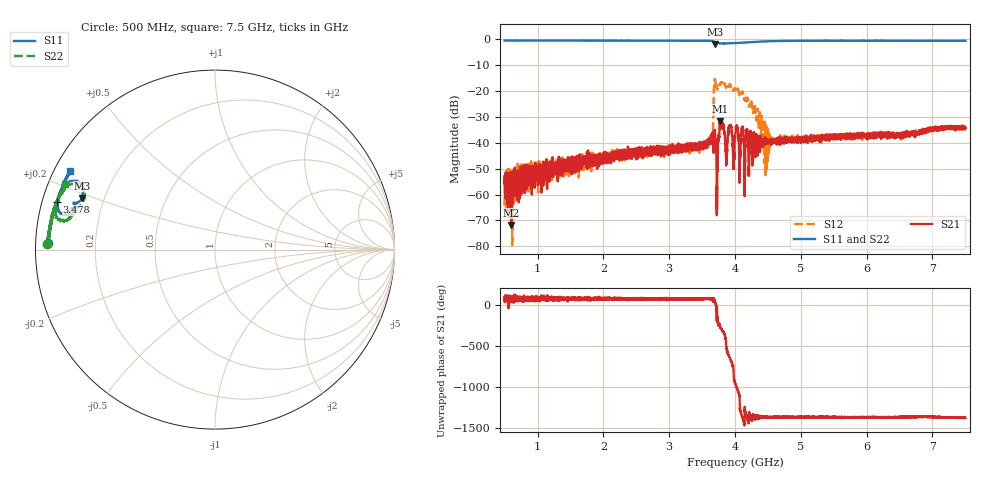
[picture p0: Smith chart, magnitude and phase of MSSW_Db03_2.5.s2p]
!Keysight Technologies,M9374A,MY55442783,A.12.55.05
!Date: Wednesday, May 19, 2021 15:42:19
!Correction: S11(Full 2 Port(1,2))
!S21(Full 2 Port(1,2))
!S12(Full 2 Port(1,2))
!S22(Full 2 Port(1,2))
!S2P File: Measurements: S11, S21, S12, S22:
# Hz S  RI  R 50
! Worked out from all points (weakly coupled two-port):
!   7001 points, 500 MHz to 7.5 GHz, reference 50 ohm
!   highest |S21| = -31.72 dB at 3.769 GHz (marker M1); lowest = -71.7 dB at 599 MHz (marker M2)
!   lowest |S11| = -2.0 dB at 3.695 GHz (marker M3), VSWR 8.73, Z = 5.93 + j9.22 ohm
!   |S11| at or under -10 dB: nowhere
!   |S22| runs from -2.2 to -0.6 dB; largest |S21 - S12| = 0.16
!   S11 on the Smith chart (normalised r, x): 500 MHz: 0.04, +0.02; 3.478 GHz: 0.04, +0.15; 7.5 GHz: 0.05, +0.25
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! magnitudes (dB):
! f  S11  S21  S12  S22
! 500 MHz  -0.6  -53.0  -64.4  -0.6
! 538 MHz  -0.6  -55.7  -54.5  -0.6
! 599 MHz  -0.6  -71.7  -55.0  -0.6
! 1.667 GHz  -0.7  -50.0  -48.2  -0.6
! 2.834 GHz  -0.7  -42.8  -41.8  -0.6
! 3.478 GHz  -0.7  -41.6  -41.2  -0.7
! 3.631 GHz  -0.8  -40.5  -38.7  -0.8
! 3.679 GHz  -1.6  -38.3  -19.8  -1.9
! 3.695 GHz  -2.0  -35.1  -15.5  -2.1
! 3.732 GHz  -1.7  -50.1  -19.2  -1.6
! 3.769 GHz  -1.7  -31.7  -17.5  -1.7
! 3.801 GHz  -1.8  -33.4  -16.8  -1.8
! 3.868 GHz  -1.7  -48.3  -18.6  -1.7
! 3.926 GHz  -1.7  -33.4  -17.7  -1.7
! 4 GHz  -1.6  -38.2  -19.4  -1.6
! 4.026 GHz  -1.6  -33.4  -18.8  -1.6
! 4.178 GHz  -1.4  -35.0  -24.2  -1.3
! 4.317 GHz  -1.2  -40.0  -30.4  -1.2
! 4.495 GHz  -0.9  -40.2  -47.3  -0.9
! 5.167 GHz  -0.8  -38.2  -38.4  -0.7
! 6.334 GHz  -0.7  -36.9  -37.6  -0.8
! 7.5 GHz  -0.7  -34.4  -34.3  -0.8
